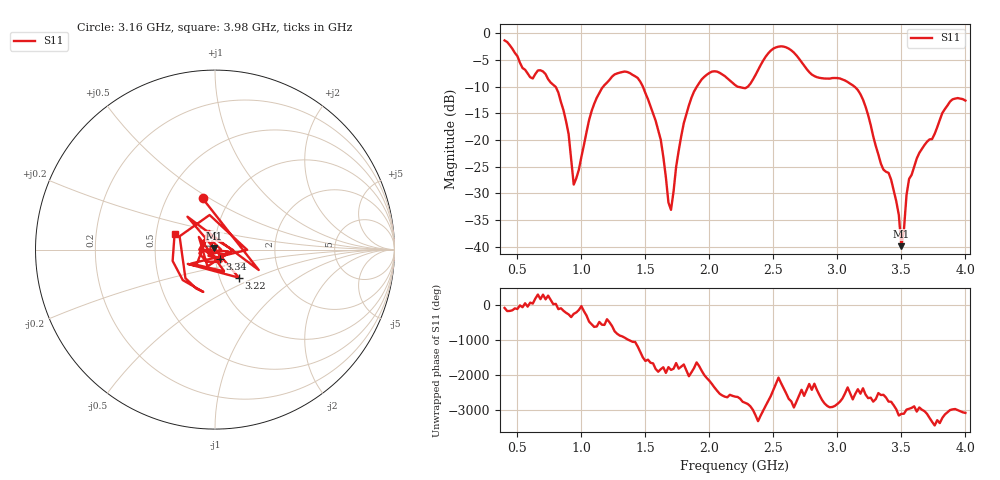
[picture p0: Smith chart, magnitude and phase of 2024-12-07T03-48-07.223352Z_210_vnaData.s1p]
!Created with skrf (http://scikit-rf.org).
# Hz S RI R 50.0
!freq ReS11 ImS11
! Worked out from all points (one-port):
!   181 points, 400 MHz to 4 GHz, reference 50 ohm
!   lowest |S11| = -39.9 dB at 3.5 GHz (marker M1), VSWR 1.02, Z = 49.6 + j0.909 ohm
!   |S11| at or under -10 dB: 797 MHz to 1.17 GHz (373.1 MHz wide, 37.9 % of centre); 1.481 GHz to 1.902 GHz (421.5 MHz wide, 24.9 % of centre); 3.134 GHz to end of sweep (the widest 3 of 4)
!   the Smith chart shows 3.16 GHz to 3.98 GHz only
!   S11 on the Smith chart (normalised r, x): 3.16 GHz: 0.75, +0.47; 3.22 GHz: 1.23, -0.40; 3.34 GHz: 1.05, -0.11; 3.98 GHz: 0.62, +0.12
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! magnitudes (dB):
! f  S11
! 400 MHz  -1.3
! 600 MHz  -8.2
! 720 MHz  -7.6
! 860 MHz  -14.4
! 940 MHz  -28.4
! 1.1 GHz  -13.2
! 1.3 GHz  -7.4
! 1.52 GHz  -12.3
! 1.62 GHz  -20.0
! 1.7 GHz  -33.1
! 1.76 GHz  -22.0
! 1.84 GHz  -13.5
! 1.94 GHz  -8.6
! 2.2 GHz  -9.7
! 2.3 GHz  -10.0
! 2.5 GHz  -2.8
! 2.66 GHz  -3.6
! 3.1 GHz  -9.4
! 3.16 GHz  -10.6
! 3.22 GHz  -13.7
! 3.34 GHz  -24.5
! 3.42 GHz  -27.5
! 3.48 GHz  -34.1
! 3.5 GHz  -39.9
! 3.56 GHz  -27.3
! 3.84 GHz  -14.2
! 3.98 GHz  -12.3
! 4 GHz  -12.6
